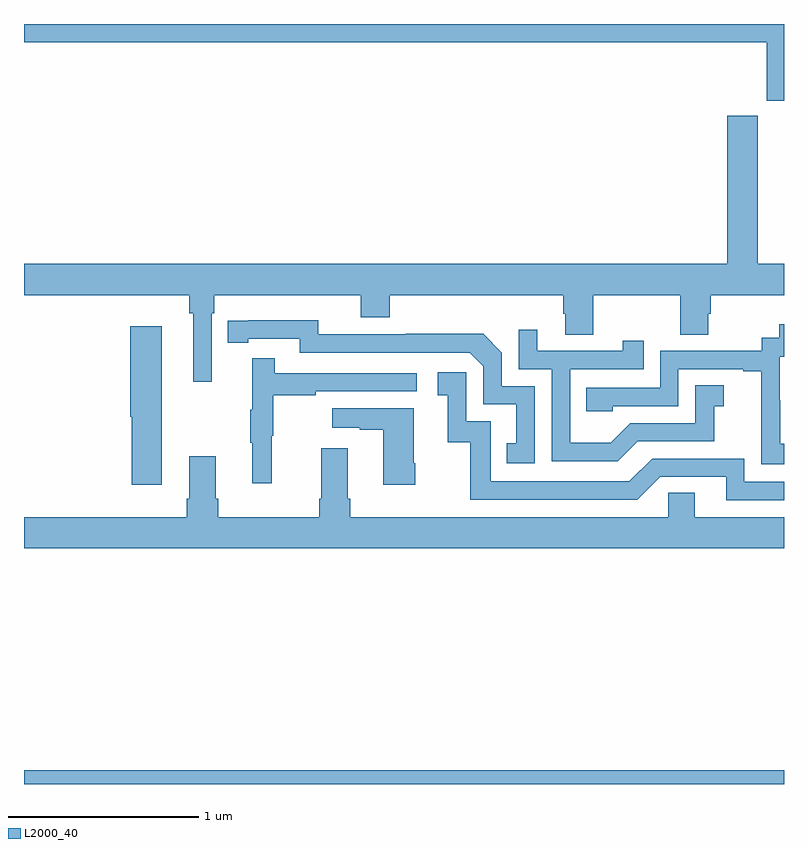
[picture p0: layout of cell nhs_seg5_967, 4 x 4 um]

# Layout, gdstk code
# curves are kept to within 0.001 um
import gdstk
lib = gdstk.Library(unit=1e-6, precision=1e-09)
def R(c, l, rs):  # rectangles x0, y0, x1, y1
    for r in rs: c.add(gdstk.rectangle(r[:2], r[2:], *l))
def P(c, l, *ps):  # polygons
    for p in ps: c.add(gdstk.Polygon(p, *l))
L2000_40 = (2000, 40)

nhs_seg5_967 = lib.new_cell('nhs_seg5_967')
R(nhs_seg5_967, L2000_40, [(171,908.799,175,908.872)])
P(nhs_seg5_967, L2000_40, [(175,912.799),(171,912.799),(171,912.704),(174.908,912.704),(174.908,912.395),(175,912.395)],
  [(171.987,911.276),(172.001,911.276),(172.001,911.372),(172.772,911.372),(172.772,911.255),(172.925,911.255),(172.925,911.372),(173.837,911.372),(173.837,911.274),(173.849,911.274),(173.849,911.164),(173.997,911.164),(173.997,911.372),(174.454,911.372),(174.454,911.164),(174.601,911.164),(174.601,911.274),(174.614,911.274),(174.614,911.372),(175,911.372),(175,911.536),(174.861,911.536),(174.861,912.316),(174.701,912.316),(174.701,911.536),(171,911.536),(171,911.372),(171.871,911.372),(171.871,911.276),(171.89,911.276),(171.89,910.917),(171.987,910.917)],
  [(173.688,910.893),(173.514,910.893),(173.514,911.07),(173.416,911.168),(173.008,911.168),(173.008,911.166),(172.548,911.166),(172.548,911.239),(172.072,911.238),(172.072,911.122),(172.18,911.122),(172.18,911.142),(172.452,911.142),(172.452,911.07),(173.346,911.07),(173.418,910.998),(173.418,910.797),(173.591,910.797),(173.591,910.593),(173.542,910.593),(173.542,910.488),(173.688,910.488)],
  [(175,910.591),(174.98,910.591),(174.98,910.82),(174.978,910.82),(174.978,911.049),(175,911.049),(175,911.218),(174.975,911.218),(174.975,911.148),(174.882,911.148),(174.882,911.079),(174.348,911.079),(174.348,910.884),(173.959,910.884),(173.959,910.761),(174.099,910.761),(174.099,910.788),(174.444,910.788),(174.444,910.983),(174.785,910.983),(174.785,910.971),(174.881,910.971),(174.881,910.687),(174.88,910.687),(174.88,910.481),(175,910.481)],
  [(171.724,911.209),(171.56,911.209),(171.56,910.731),(171.566,910.731),(171.566,910.374),(171.724,910.374)],
  [(174.229,910.602),(174.633,910.602),(174.633,910.787),(174.682,910.787),(174.682,910.897),(174.534,910.897),(174.534,910.698),(174.192,910.698),(174.088,910.594),(173.874,910.594),(173.874,910.983),(174.263,910.983),(174.263,911.131),(174.152,911.131),(174.152,911.079),(173.701,911.079),(173.701,911.191),(173.604,911.191),(173.604,910.983),(173.778,910.983),(173.778,910.497),(174.124,910.497)],
  [(172.304,910.632),(172.312,910.632),(172.312,910.846),(172.535,910.846),(172.535,910.866),(173.068,910.866),(173.068,910.962),(172.319,910.962),(172.319,911.041),(172.202,911.041),(172.202,910.769),(172.191,910.769),(172.191,910.595),(172.202,910.595),(172.202,910.383),(172.304,910.383)],
  [(175,910.389),(174.792,910.389),(174.792,910.512),(174.306,910.512),(174.186,910.392),(173.457,910.392),(173.457,910.707),(173.328,910.707),(173.328,910.966),(173.178,910.966),(173.178,910.845),(173.231,910.845),(173.231,910.599),(173.349,910.599),(173.349,910.296),(174.228,910.296),(174.348,910.416),(174.695,910.416),(174.695,910.293),(175,910.293)],
  [(173.058,910.486),(173.05,910.486),(173.05,910.777),(172.623,910.777),(172.623,910.673),(172.766,910.673),(172.766,910.663),(172.892,910.663),(172.892,910.374),(173.058,910.374)],
  [(175,910.204),(174.529,910.204),(174.529,910.331),(174.39,910.331),(174.39,910.204),(172.718,910.204),(172.718,910.3),(172.705,910.3),(172.705,910.567),(172.565,910.567),(172.565,910.3),(172.553,910.3),(172.553,910.204),(172.022,910.204),(172.022,910.3),(172.009,910.3),(172.009,910.525),(171.869,910.525),(171.869,910.3),(171.857,910.3),(171.857,910.204),(171,910.204),(171,910.04),(175,910.04)])

lib.write_gds('nhs_seg5_967.gds')
